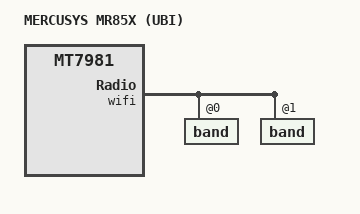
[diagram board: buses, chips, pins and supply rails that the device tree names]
// SPDX-License-Identifier: GPL-2.0

#include "mt7981b-mercusys-mr85x-common.dtsi"

/ {
	model = "MERCUSYS MR85X (UBI)";
	compatible = "mercusys,mr85x-ubi", "mediatek,mt7981";

	aliases {
		label-mac-device = &gmac0;
	};

	chosen {
		bootargs-override = "root=/dev/fit0 rootwait";
		rootdisk = <&ubi_rootdisk>;
	};
};

&gmac0 {
	nvmem-cells = <&macaddr_factory_8000 (0)>;
	nvmem-cell-names = "mac-address";
};

&gmac1 {
	nvmem-cells = <&macaddr_factory_8000 (1)>;
	nvmem-cell-names = "mac-address";
};

&partitions {
	partition@0 {
		label = "bl2";
		reg = <0x0 0x100000>;
		read-only;
	};

	partition@100000 {
		reg = <0x100000 0x7f00000>;
		compatible = "linux,ubi";
		label = "ubi";

		volumes {
			ubi_factory: ubi-volume-factory {
				volname = "factory";
			};

			ubi-volume-fip {
				volname = "fip";
			};

			ubi_rootdisk: ubi-volume-fit {
				volname = "fit";
			};

			ubi_ubootenv: ubi-volume-ubootenv {
				volname = "ubootenv";
			};

			ubi_ubootenv2: ubi-volume-ubootenv2 {
				volname = "ubootenv2";
			};
		};
	};
};

&ubi_factory {
	nvmem-layout {
		compatible = "fixed-layout";
		#address-cells = <1>;
		#size-cells = <1>;

		eeprom_factory_0: eeprom@0 {
			reg = <0x0 0x1000>;
		};

		macaddr_factory_8000: macaddr@8000 {
			compatible = "mac-base";
			reg = <0x8000 0x6>;
			#nvmem-cell-cells = <1>;
		};
	};
};

&ubi_ubootenv {
	nvmem-layout {
		compatible = "u-boot,env-redundant-bool";
	};
};

&ubi_ubootenv2 {
	nvmem-layout {
		compatible = "u-boot,env-redundant-bool";
	};
};

&wifi {
	status = "okay";

	#address-cells = <1>;
	#size-cells = <0>;

	nvmem-cells = <&eeprom_factory_0>;
	nvmem-cell-names = "eeprom";

	band@0 {
		reg = <0>;

		nvmem-cells = <&macaddr_factory_8000 (0)>;
		nvmem-cell-names = "mac-address";
	};

	band@1 {
		reg = <1>;

		nvmem-cells = <&macaddr_factory_8000 (-1)>;
		nvmem-cell-names = "mac-address";
	};
};
